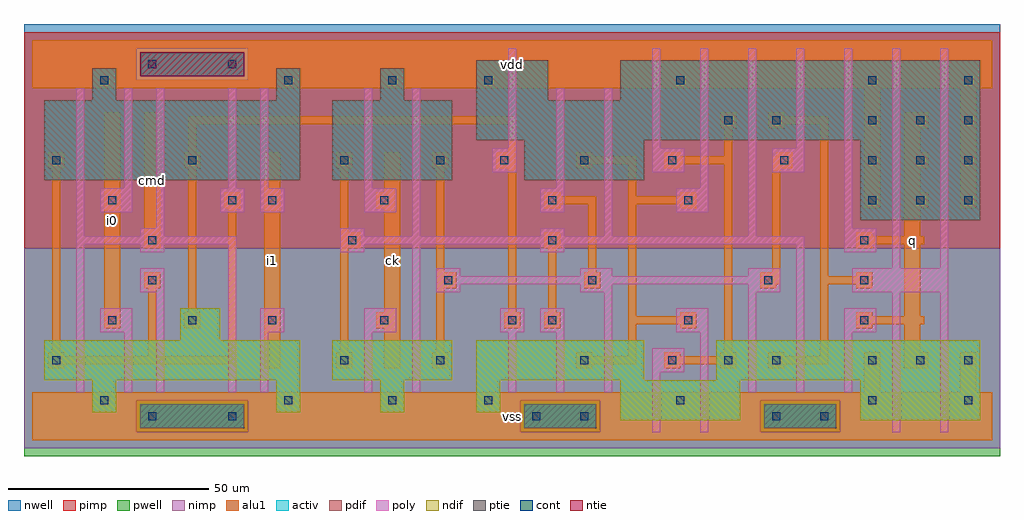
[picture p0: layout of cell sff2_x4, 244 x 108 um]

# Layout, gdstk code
import gdstk
lib = gdstk.Library(unit=1e-6, precision=1e-09)
def R(c, l, rs):  # rectangles x0, y0, x1, y1
    for r in rs: c.add(gdstk.rectangle(r[:2], r[2:], *l))
def A(c, l, x, y, w, h, nx, ny, dx, dy):  # array of equal rectangles
    R(c, l, [(x+i*dx, y+j*dy, x+i*dx+w, y+j*dy+h) for i in range(nx) for j in range(ny)])
ndif = (3, 0)
pdif = (4, 0)
ntie = (5, 0)
ptie = (6, 0)
cont = (25, 0)
pwell = (41, 0)
nwell = (42, 0)
activ = (43, 0)
pimp = (44, 0)
nimp = (45, 0)
poly = (46, 0)
alu1 = (49, 0)

sff2_x4 = lib.new_cell('sff2_x4')
R(sff2_x4, ndif, [(147,5,177,15), (207,5,237,15), (15,7,21,15), (61,7,67,15), (87,7,93,15), (111,7,117,15), (3,15,67,25), (75,15,105,25), (111,15,153,25), (171,15,237,25), (37,25,47,33)])
R(sff2_x4, pdif, [(207,55,237,75), (3,65,67,85), (75,65,105,85), (123,65,153,75), (111,75,237,85), (15,85,21,93), (61,85,67,93), (87,85,93,93), (111,85,129,95), (147,85,237,95)])
R(sff2_x4, ntie, [(27,91,53,97)])
R(sff2_x4, ptie, [(27,3,53,9), (123,3,141,9), (183,3,201,9)])
A(sff2_x4, cont, 113, 9, 2, 2, 3, 2, 48, 80)
A(sff2_x4, cont, 209, 19, 2, 2, 3, 2, 12, 40)
A(sff2_x4, cont, 19, 29, 2, 2, 3, 1, 20, 0)
A(sff2_x4, cont, 207, 29, 2, 2, 1, 3, 0, 10)
A(sff2_x4, cont, 29, 49, 2, 2, 3, 1, 50, 0)
A(sff2_x4, cont, 209, 69, 2, 2, 3, 2, 12, 10)
R(sff2_x4, cont, [(29,5,31,7), (49,5,51,7), (125,5,127,7), (137,5,139,7), (185,5,187,7), (197,5,199,7), (17,9,19,11), (63,9,65,11), (89,9,91,11), (233,9,235,11), (5,19,7,21), (77,19,79,21), (101,19,103,21), (137,19,139,21), (159,19,161,21), (173,19,175,21), (185,19,187,21), (87,29,89,31), (119,29,121,31), (129,29,131,31), (163,29,165,31), (29,39,31,41), (103,39,105,41), (139,39,141,41), (183,39,185,41), (19,59,21,61), (49,59,51,61), (59,59,61,61), (87,59,89,61), (129,59,131,61), (163,59,165,61), (5,69,7,71), (39,69,41,71), (77,69,79,71), (101,69,103,71), (117,69,119,71), (137,69,139,71), (159,69,161,71), (187,69,189,71), (173,79,175,81), (185,79,187,81), (17,89,19,91), (63,89,65,91), (89,89,91,91), (233,89,235,91), (29,93,31,95), (49,93,51,95)])
R(sff2_x4, pwell, [(-2,-4,242,48)])
R(sff2_x4, nwell, [(-2,48,242,104)])
R(sff2_x4, activ, [(27,3,53,9), (123,3,141,9), (183,3,201,9), (147,5,177,15), (207,5,237,15), (15,7,21,15), (61,7,67,15), (87,7,93,15), (111,7,117,15), (3,15,67,25), (75,15,105,25), (111,15,153,25), (171,15,237,25), (37,25,47,33), (207,55,237,75), (3,65,67,85), (75,65,105,85), (123,65,153,75), (111,75,237,85), (15,85,21,93), (61,85,67,93), (87,85,93,93), (111,85,129,95), (147,85,237,95), (27,91,53,97)])
R(sff2_x4, pimp, [(26,2,54,10), (122,2,142,10), (182,2,202,10), (-2,48,242,90), (-2,90,26,98), (54,90,242,98), (-2,98,242,102)])
R(sff2_x4, nimp, [(-2,-2,242,2), (-2,2,26,10), (54,2,122,10), (142,2,182,10), (202,2,242,10), (-2,10,242,48), (26,90,54,98)])
A(sff2_x4, poly, 27, 47, 6, 2, 3, 2, 50, 4)
A(sff2_x4, poly, 119, 73, 2, 25, 3, 1, 36, 0)
R(sff2_x4, poly, [(155,2,157,17), (167,2,169,27), (215,2,217,37), (227,2,229,37), (11,12,13,49), (23,12,25,27), (31,12,33,37), (49,12,51,49), (57,12,59,27), (83,12,85,27), (95,12,97,49), (119,12,121,27), (131,12,133,27), (143,12,145,37), (179,12,181,37), (191,12,193,49), (203,12,205,27), (155,17,163,23), (17,27,25,33), (57,27,63,33), (83,27,91,33), (117,27,123,33), (127,27,133,33), (161,27,169,33), (203,27,211,33), (27,37,33,43), (101,37,107,39), (137,37,145,39), (179,37,187,39), (205,37,229,43), (101,39,187,41), (101,41,107,43), (137,41,145,43), (179,41,187,43), (215,43,217,98), (227,43,229,98), (203,47,211,53), (11,49,51,51), (77,49,193,51), (11,51,13,88), (95,51,97,88), (143,51,145,88), (179,51,181,98), (31,53,33,88), (203,53,205,98), (17,57,25,63), (47,57,53,63), (57,57,63,63), (83,57,91,63), (127,57,133,63), (161,57,169,63), (23,63,25,88), (49,63,51,88), (57,63,59,88), (83,63,85,88), (131,63,133,88), (167,63,169,98), (115,67,121,73), (155,67,163,73), (185,67,193,73)])
A(sff2_x4, alu1, 218, 58, 6, 4, 1, 3, 0, 10)
R(sff2_x4, alu1, [(0,0,240,12), (208,12,212,22), (232,12,236,22), (4,18,8,19), (58,18,62,72), (76,18,80,22), (88,18,92,28), (100,18,104,22), (136,18,140,19), (158,18,162,19), (172,18,176,19), (184,18,188,19), (218,18,224,22), (4,19,51,21), (136,19,151,21), (158,19,176,21), (184,19,199,21), (4,21,8,22), (29,21,31,38), (49,21,51,58), (136,21,140,22), (149,21,151,29), (158,21,162,22), (172,21,176,22), (184,21,188,22), (197,21,199,39), (5,22,7,68), (77,22,79,48), (101,22,103,38), (173,22,175,69), (218,22,222,29), (18,28,22,82), (38,28,42,32), (86,28,92,32), (118,28,122,32), (128,28,132,32), (162,28,166,29), (206,28,210,29), (149,29,166,31), (206,29,223,31), (149,31,151,59), (162,31,166,32), (206,31,210,32), (218,31,222,49), (39,32,41,68), (88,32,92,58), (119,32,121,68), (129,32,131,48), (28,38,32,42), (101,38,106,42), (138,38,142,42), (182,38,186,39), (206,38,210,39), (182,39,187,42), (197,39,210,41), (197,41,199,79), (206,41,210,42), (101,42,103,68), (139,42,141,59), (185,42,187,68), (28,48,32,82), (77,48,82,52), (128,48,132,52), (206,48,210,49), (206,49,223,51), (206,51,210,52), (218,51,222,58), (77,52,79,68), (48,58,52,62), (86,58,92,62), (128,58,132,59), (162,58,166,59), (208,58,212,88), (232,58,236,88), (128,59,141,61), (149,59,166,61), (128,61,132,62), (149,61,151,69), (162,61,166,62), (88,62,92,72), (218,62,222,68), (4,68,8,72), (38,68,42,72), (76,68,80,72), (100,68,104,72), (116,68,121,72), (136,68,140,69), (158,68,162,69), (185,68,190,71), (136,69,151,71), (158,69,175,71), (136,71,140,72), (158,71,162,72), (173,71,175,78), (186,71,190,72), (39,72,41,79), (119,72,121,79), (218,72,222,78), (172,78,176,82), (184,78,188,79), (39,79,121,81), (184,79,199,81), (184,81,188,82), (0,88,240,100)])
sff2_x4.add(gdstk.Label('i0', (20,55), layer=49, texttype=0))
sff2_x4.add(gdstk.Label('cmd', (30,65), layer=49, texttype=0))
sff2_x4.add(gdstk.Label('i1', (60,45), layer=49, texttype=0))
sff2_x4.add(gdstk.Label('ck', (90,45), layer=49, texttype=0))
sff2_x4.add(gdstk.Label('vss', (120,6), layer=49, texttype=0))
sff2_x4.add(gdstk.Label('vdd', (120,94), layer=49, texttype=0))
sff2_x4.add(gdstk.Label('q', (220,50), layer=49, texttype=0))

lib.write_gds('sff2_x4.gds')
